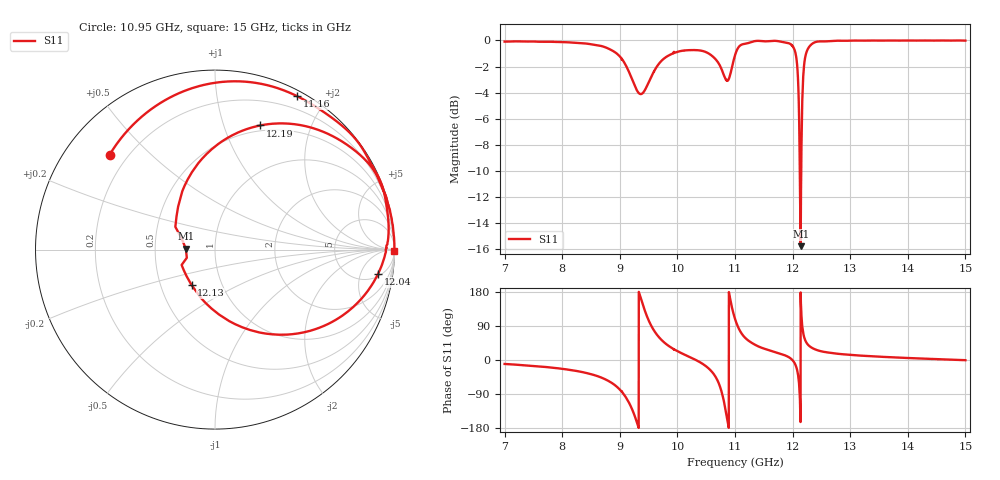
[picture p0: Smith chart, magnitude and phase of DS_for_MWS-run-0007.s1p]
! TOUCHSTONE file generated by CST DESIGN STUDIO
! Date and time: Mon Feb 10 16:41:35 2025
! Project name: C:\Work\MatlabApps\UnitCellType2OptimizationMatlab\CST\unitcell.cst
! Tree item: Tasks\Sweep1\SPara1\S-Parameters
! Header version: 2024
! Port assignment regex: !\s*Touchstone port\s*([0-9]+)\s*=\s*(CST MWS port|CST DES external port|CST DES block port)\s*(.+)\s* \(\"(.*)\"\)(\s*mode\s*([0-9]+))?.*
! Touchstone port assignment:
! Touchstone port 1 = CST DES external port 1 ("")
# GHz S MA R 50
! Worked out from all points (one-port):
!   4001 points, 7 GHz to 15 GHz, reference 50 ohm
!   lowest |S11| = -15.8 dB at 12.14 GHz (marker M1), VSWR 1.39, Z = 36 + j0.368 ohm
!   |S11| at or under -10 dB: 12.12493 GHz to 12.15004 GHz (25.11 MHz wide, 0.207 % of centre)
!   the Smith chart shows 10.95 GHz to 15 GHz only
!   S11 on the Smith chart (normalised r, x): 10.95 GHz: 0.13, +0.38; 11.16 GHz: 0.06, +1.67; 12.04 GHz: 6, -10; 12.13 GHz: 0.72, -0.30; 12.19 GHz: 0.44, +1.33; 15 GHz: open
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7  0.99 -10.4
8  0.9851 -23.2
8.642  0.9561 -44.1
9  0.8687 -78.0
9.174  0.7446 -116.9
9.338  0.6258 175.9
9.564  0.7396 85.3
9.756  0.8484 48.3
10  0.9044 23.4
10.526  0.8957 -20.1
10.664  0.8466 -44.7
10.762  0.7801 -81.0
10.868  0.7013 -157.8
10.948  0.7898 138.1
11  0.8773 108.6
11.156  0.9696 61.8
11.434  0.9958 34.0
12  0.9526 -0.7
12.036  0.9182 -8.5
12.092  0.7258 -36.9
12.13  0.2368 -123.5
12.14  0.1624 178.2
12.186  0.7366 69.9
12.248  0.9106 44.0
12.358  0.9772 30.3
13  0.9986 13.5
14  0.9995 5.3
15  0.9986 -0.5
